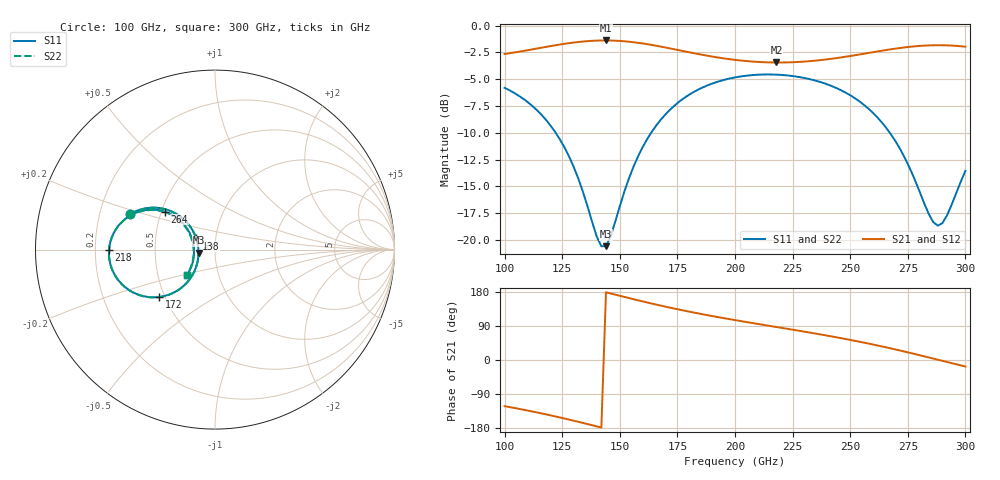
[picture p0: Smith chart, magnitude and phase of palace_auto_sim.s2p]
#  GHZ S DB R 50
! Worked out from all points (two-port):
!   101 points, 100 GHz to 300 GHz, reference 50 ohm
!   highest |S21| = -1.39 dB at 144 GHz (marker M1); lowest = -3.4 dB at 218 GHz (marker M2)
!   |S21| within 3 dB of the highest: start of sweep to end of sweep
!   lowest |S11| = -20.6 dB at 144 GHz (marker M3), VSWR 1.21, Z = 41.6 - j1.5 ohm
!   |S11| at or under -10 dB: 122.2 GHz to 163.6 GHz (41.46 GHz wide, 29 % of centre); 267.2 GHz to end of sweep
!   |S22| runs from -20.6 to -4.6 dB; largest |S21 - S12| = 8.6e-14
!   S11 on the Smith chart (normalised r, x): 100 GHz: 0.33, +0.18; 138 GHz: 0.81, +0.10; 172 GHz: 0.47, -0.30; 218 GHz: 0.26, +0.00; 264 GHz: 0.52, +0.25; 300 GHz: 0.71, -0.21
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100  -5.81 157.3  -2.65 -121.8  -2.65 -121.8  -5.81 157.3
120  -9.34 139.8  -1.91 -146.2  -1.91 -146.2  -9.34 139.9
128  -12.23 135.8  -1.64 -157.3  -1.64 -157.3  -12.22 136.0
134  -15.51 138.8  -1.49 -166.1  -1.49 -166.1  -15.50 138.9
138  -18.32 149.3  -1.43 -172.1  -1.43 -172.1  -18.31 149.4
142  -20.58 174.4  -1.39 -178.2  -1.39 -178.2  -20.57 174.5
144  -20.58 -169.0  -1.39 178.7  -1.39 178.7  -20.57 -168.9
156  -13.14 -130.5  -1.56 160.4  -1.56 160.4  -13.14 -130.4
168  -8.73 -136.2  -1.97 143.2  -1.97 143.2  -8.72 -136.0
172  -7.81 -139.6  -2.14 137.9  -2.14 137.9  -7.81 -139.4
184  -5.98 -150.6  -2.66 123.0  -2.66 123.0  -5.98 -150.4
200  -4.84 -164.9  -3.20 105.3  -3.20 105.3  -4.84 -164.7
218  -4.58 180.0  -3.45 87.0  -3.45 87.0  -4.58 -179.8
234  -5.08 166.8  -3.29 70.8  -3.29 70.8  -5.08 167.0
250  -6.50 153.4  -2.84 53.0  -2.84 53.0  -6.49 153.8
264  -9.10 142.9  -2.34 35.5  -2.34 35.5  -9.09 143.4
268  -10.25 140.9  -2.20 30.1  -2.20 30.1  -10.22 141.5
278  -14.36 143.3  -1.94 15.8  -1.94 15.8  -14.29 144.0
284  -17.53 159.1  -1.85 6.9  -1.85 6.9  -17.39 159.8
288  -18.66 -179.3  -1.84 0.8  -1.84 0.8  -18.48 -179.0
292  -17.72 -157.0  -1.85 -5.2  -1.85 -5.2  -17.57 -157.2
300  -13.55 -137.7  -1.97 -17.2  -1.97 -17.2  -13.49 -138.1
